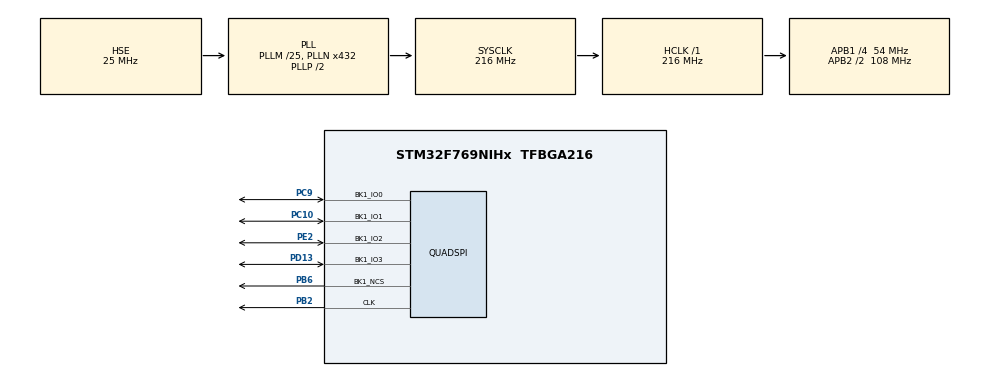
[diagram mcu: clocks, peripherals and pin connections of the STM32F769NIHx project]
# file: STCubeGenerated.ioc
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Mcu.Family=STM32F7
Mcu.Name=STM32F769NIHx
Mcu.Package=TFBGA216
NVIC.PriorityGroup=NVIC_PRIORITYGROUP_4
PB2.Mode=Single Bank 1
PB2.Signal=QUADSPI_CLK
PB6.Mode=Single Bank 1
PB6.Signal=QUADSPI_BK1_NCS
PC10.Mode=Single Bank 1
PC10.Signal=QUADSPI_BK1_IO1
PC9.Mode=Single Bank 1
PC9.Signal=QUADSPI_BK1_IO0
PD13.Mode=Single Bank 1
PD13.Signal=QUADSPI_BK1_IO3
PE2.Mode=Single Bank 1
PE2.Signal=QUADSPI_BK1_IO2
PH0/OSC_IN.Mode=HSE-External-Oscillator
PH0/OSC_IN.Signal=RCC_OSC_IN
PH1/OSC_OUT.Mode=HSE-External-Oscillator
PH1/OSC_OUT.Signal=RCC_OSC_OUT
ProjectManager.HeapSize=0x200
ProjectManager.StackSize=0x400
ProjectManager.TargetToolchain=MDK-ARM V5
QUADSPI.ClockPrescaler=3
QUADSPI.FifoThreshold=4
QUADSPI.FlashSize=25
RCC.AHBFreq_Value=216000000
RCC.APB1CLKDivider=RCC_HCLK_DIV4
RCC.APB1Freq_Value=54000000
RCC.APB1TimFreq_Value=108000000
RCC.APB2CLKDivider=RCC_HCLK_DIV2
RCC.APB2Freq_Value=108000000
RCC.APB2TimFreq_Value=216000000
RCC.CortexFreq_Value=216000000
RCC.HCLKFreq_Value=216000000
RCC.HSE_VALUE=25000000
RCC.HSI_VALUE=16000000
RCC.LSE_VALUE=32768
RCC.PLLM=25
RCC.PLLN=432
RCC.PLLSourceVirtual=RCC_PLLSOURCE_HSE
RCC.SYSCLKFreq_VALUE=216000000
RCC.SYSCLKSource=RCC_SYSCLKSOURCE_PLLCLK
RCC.USBFreq_Value=216000000
RCC.VCOOutputFreq_Value=432000000
board=STCubeGenerated

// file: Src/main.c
/* USER CODE BEGIN Header */
/**
  ******************************************************************************
  * @file           : main.c
  * @brief          : Main program body
  ******************************************************************************
  * @attention
  *
  * <h2><center>&copy; Copyright (c) 2019 STMicroelectronics.
  * All rights reserved.</center></h2>
  *
  * This software component is licensed by ST under BSD 3-Clause license,
  * the "License"; You may not use this file except in compliance with the
  * License. You may obtain a copy of the License at:
  *                        opensource.org/licenses/BSD-3-Clause
  *
  ******************************************************************************
  */
/* USER CODE END Header */
#include "main.h"

/* USER CODE BEGIN Includes */
#include "quadspi.h"
/* USER CODE END Includes */

QSPI_HandleTypeDef hqspi;

/* USER CODE BEGIN PV */
/* Private variables ---------------------------------------------------------*/

/* USER CODE END PV */

void SystemClock_Config(void);
static void MX_GPIO_Init(void);
void MX_QUADSPI_Init(void);
/* USER CODE BEGIN PFP */
/* Private function prototypes -----------------------------------------------*/

/* USER CODE END PFP */

/* USER CODE BEGIN 0 */
/**
  * Override default HAL_GetTick function
  */
uint32_t HAL_GetTick (void) {
  static uint32_t ticks = 0U;
         uint32_t i;

  if (osKernelGetState () == osKernelRunning) {
    return ((uint32_t)osKernelGetTickCount ());
  }

  /* If Kernel is not running wait approximately 1 ms then increment
     and return auxiliary tick counter value */
  for (i = (SystemCoreClock >> 14U); i > 0U; i--) {
    __NOP(); __NOP(); __NOP(); __NOP(); __NOP(); __NOP();
    __NOP(); __NOP(); __NOP(); __NOP(); __NOP(); __NOP();
  }
  return ++ticks;
}
/* USER CODE END 0 */

int main(void)
{

  /* MCU Configuration--------------------------------------------------------*/

  /* Reset of all peripherals, Initializes the Flash interface and the Systick. */
  HAL_Init();

  /* Configure the system clock */
  SystemClock_Config();

  /* USER CODE BEGIN SysInit */
  SystemCoreClockUpdate();
  /* USER CODE END SysInit */

  /* Initialize all configured peripherals */
  MX_GPIO_Init();
  /* USER CODE BEGIN 2 */

  CSP_QUADSPI_Init();
  CSP_QSPI_EnableMemoryMappedMode();

  /* Initialize CMSIS-RTOS2 */
  osKernelInitialize ();

  /* Create application main thread */
  osThreadNew(app_main, NULL, NULL);

  /* Start thread execution */
  osKernelStart();

  /* USER CODE END 2 */

  /* Infinite loop */
  while (1)
  {

  }
}

void SystemClock_Config(void)
{
  RCC_OscInitTypeDef RCC_OscInitStruct = {0};
  RCC_ClkInitTypeDef RCC_ClkInitStruct = {0};

  /** Configure the main internal regulator output voltage
  */
  __HAL_RCC_PWR_CLK_ENABLE();
  __HAL_PWR_VOLTAGESCALING_CONFIG(PWR_REGULATOR_VOLTAGE_SCALE1);
  /** Initializes the RCC Oscillators according to the specified parameters
  * in the RCC_OscInitTypeDef structure.
  */
  RCC_OscInitStruct.OscillatorType = RCC_OSCILLATORTYPE_HSE;
  RCC_OscInitStruct.HSEState = RCC_HSE_ON;
  RCC_OscInitStruct.PLL.PLLState = RCC_PLL_ON;
  RCC_OscInitStruct.PLL.PLLSource = RCC_PLLSOURCE_HSE;
  RCC_OscInitStruct.PLL.PLLM = 25;
  RCC_OscInitStruct.PLL.PLLN = 432;
  RCC_OscInitStruct.PLL.PLLP = RCC_PLLP_DIV2;
  RCC_OscInitStruct.PLL.PLLQ = 2;
  if (HAL_RCC_OscConfig(&RCC_OscInitStruct) != HAL_OK)
  {
    Error_Handler();
  }
  /** Activate the Over-Drive mode
  */
  if (HAL_PWREx_EnableOverDrive() != HAL_OK)
  {
    Error_Handler();
  }
  /** Initializes the CPU, AHB and APB buses clocks
  */
  RCC_ClkInitStruct.ClockType = RCC_CLOCKTYPE_HCLK|RCC_CLOCKTYPE_SYSCLK
                              |RCC_CLOCKTYPE_PCLK1|RCC_CLOCKTYPE_PCLK2;
  RCC_ClkInitStruct.SYSCLKSource = RCC_SYSCLKSOURCE_PLLCLK;
  RCC_ClkInitStruct.AHBCLKDivider = RCC_SYSCLK_DIV1;
  RCC_ClkInitStruct.APB1CLKDivider = RCC_HCLK_DIV4;
  RCC_ClkInitStruct.APB2CLKDivider = RCC_HCLK_DIV2;

  if (HAL_RCC_ClockConfig(&RCC_ClkInitStruct, FLASH_LATENCY_7) != HAL_OK)
  {
    Error_Handler();
  }
}

void MX_QUADSPI_Init(void)
{

  /* QUADSPI parameter configuration*/
  hqspi.Instance = QUADSPI;
  hqspi.Init.ClockPrescaler = 3;
  hqspi.Init.FifoThreshold = 4;
  hqspi.Init.SampleShifting = QSPI_SAMPLE_SHIFTING_NONE;
  hqspi.Init.FlashSize = 25;
  hqspi.Init.ChipSelectHighTime = QSPI_CS_HIGH_TIME_1_CYCLE;
  hqspi.Init.ClockMode = QSPI_CLOCK_MODE_0;
  hqspi.Init.FlashID = QSPI_FLASH_ID_1;
  hqspi.Init.DualFlash = QSPI_DUALFLASH_DISABLE;
  if (HAL_QSPI_Init(&hqspi) != HAL_OK)
  {
    Error_Handler();
  }

}

static void MX_GPIO_Init(void)
{

  /* GPIO Ports Clock Enable */
  __HAL_RCC_GPIOE_CLK_ENABLE();
  __HAL_RCC_GPIOB_CLK_ENABLE();
  __HAL_RCC_GPIOC_CLK_ENABLE();
  __HAL_RCC_GPIOH_CLK_ENABLE();
  __HAL_RCC_GPIOD_CLK_ENABLE();

}

void Error_Handler(void)
{
  while(1)
  {
  }
}

/************************ (C) COPYRIGHT STMicroelectronics *****END OF FILE****/
